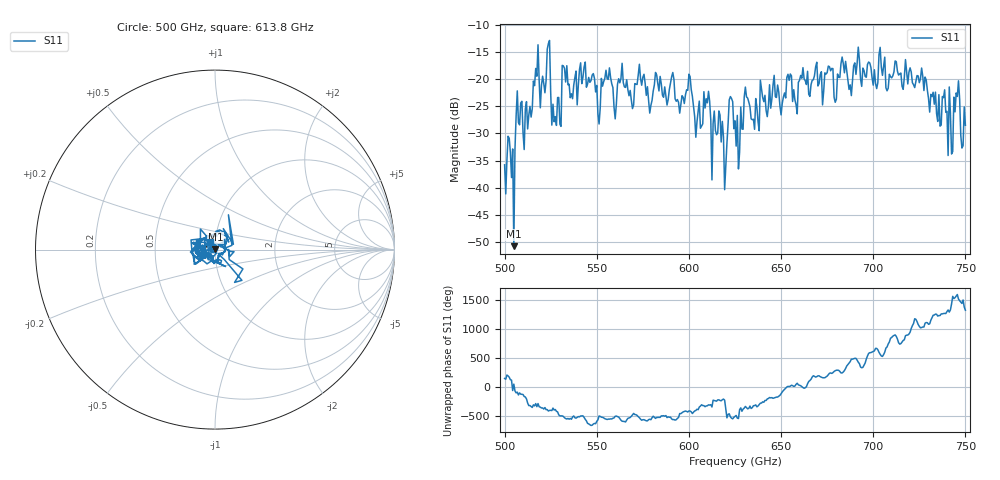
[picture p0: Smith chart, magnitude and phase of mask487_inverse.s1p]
!Created with skrf (http://scikit-rf.org).
# GHz S MA R 50.0
!freq magS11 angS11
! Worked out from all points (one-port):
!   401 points, 500 GHz to 750 GHz, reference 50 ohm
!   lowest |S11| = -50.8 dB at 505 GHz (marker M1), VSWR 1.01, Z = 50.2 + j0.201 ohm
!   |S11| at or under -10 dB: start of sweep to end of sweep
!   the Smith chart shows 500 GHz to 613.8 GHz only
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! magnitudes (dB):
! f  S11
! 500 GHz  -35.8
! 505 GHz  -50.8
! 507.5 GHz  -28.0
! 513.8 GHz  -25.0
! 516.9 GHz  -18.0
! 520.6 GHz  -19.4
! 523.8 GHz  -13.4
! 526.9 GHz  -27.8
! 531.2 GHz  -17.5
! 542.5 GHz  -19.6
! 550.6 GHz  -26.4
! 562.5 GHz  -20.7
! 593.8 GHz  -23.8
! 609.4 GHz  -23.6
! 618.8 GHz  -30.7
! 622.5 GHz  -23.2
! 625 GHz  -27.7
! 656.2 GHz  -24.1
! 676.9 GHz  -18.4
! 680 GHz  -23.7
! 683.8 GHz  -17.1
! 687.5 GHz  -21.0
! 691.2 GHz  -17.1
! 718.8 GHz  -20.9
! 738.8 GHz  -22.0
! 741.9 GHz  -26.3
! 745.6 GHz  -23.2
! 750 GHz  -28.5
